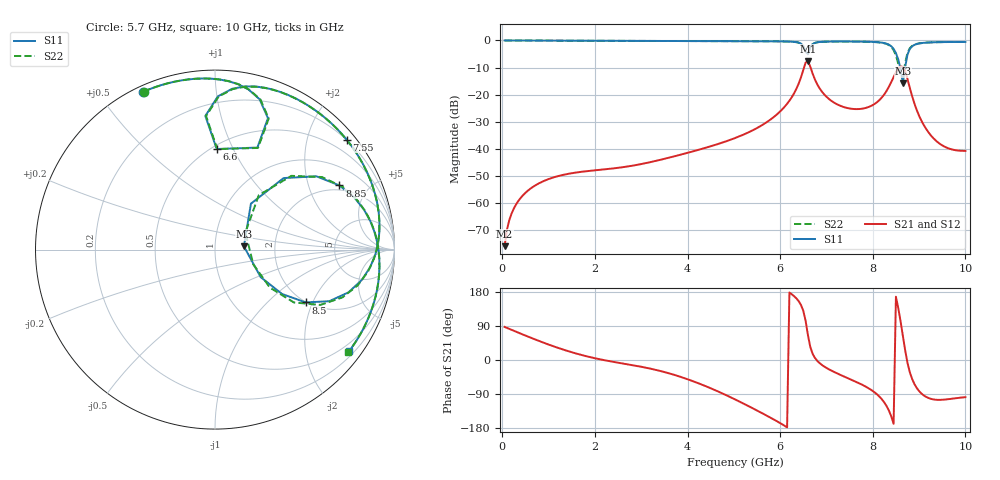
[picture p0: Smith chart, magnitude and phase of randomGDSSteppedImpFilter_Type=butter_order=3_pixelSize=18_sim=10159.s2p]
! freq	dB(S11)	phase(S11)	dB(S12)	phase(S12)
!  dB(S21)	phase(S21)	dB(S22)	phase(S22)
!S-par simulation data
#  GHz  S  DB  R 50
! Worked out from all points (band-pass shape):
!   200 points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, 50 MHz to 10 GHz, reference 50 ohm
!   highest |S21| = -7.56 dB at 6.6 GHz (marker M1); lowest = -75.9 dB at 50 MHz (marker M2)
!   |S21| within 3 dB of the highest: 6.505 GHz to 6.669 GHz (163.5 MHz wide, 2.48 % of centre); 8.541 GHz to 8.674 GHz (133.4 MHz wide, 1.55 % of centre)
!   lowest |S11| = -15.8 dB at 8.65 GHz (marker M3), VSWR 1.39, Z = 69.1 + j2.57 ohm
!   |S11| at or under -10 dB: 8.592 GHz to 8.698 GHz (105.7 MHz wide, 1.22 % of centre)
!   |S22| runs from -14.2 to 0.0 dB; largest |S21 - S12| = 0
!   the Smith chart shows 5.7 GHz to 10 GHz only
!   S11 on the Smith chart (normalised r, x): 5.7 GHz: 0.02, +0.64; 6.6 GHz: 0.53, +0.87; 7.55 GHz: 0.19, +2.74; 8.5 GHz: 1.99, -1.77; 8.85 GHz: 1.77, +3.22; 10 GHz: 0.31, -2.94
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0.05  -0.00 -2.6  -75.85 87.3  -75.85 87.3  -0.00 -2.6
0.2  -0.02 -10.4  -63.84 79.6  -63.84 79.6  -0.02 -10.4
0.5  -0.04 -25.7  -56.17 64.5  -56.17 64.5  -0.04 -25.7
1.75  -0.10 -86.1  -48.35 12.0  -48.35 12.0  -0.10 -86.1
3.4  -0.17 -154.7  -44.07 -28.6  -44.07 -28.6  -0.17 -154.8
4.2  -0.21 174.4  -40.50 -59.7  -40.50 -59.7  -0.21 174.3
5.05  -0.25 141.2  -35.83 -105.4  -35.83 -105.4  -0.26 141.1
5.7  -0.30 114.6  -30.25 -146.2  -30.25 -146.2  -0.30 114.3
6.2  -0.42 91.3  -22.21 178.1  -22.21 178.1  -0.42 91.0
6.5  -2.05 68.1  -10.83 129.7  -10.83 129.7  -2.06 67.7
6.6  -5.03 89.0  -7.56 65.5  -7.56 65.5  -5.04 88.7
6.7  -1.37 88.9  -12.17 16.8  -12.17 16.8  -1.38 88.6
7  -0.44 67.2  -20.76 -20.9  -20.76 -20.9  -0.44 66.8
7.55  -0.39 39.9  -25.21 -52.6  -25.21 -52.6  -0.40 39.3
8  -0.53 16.1  -23.82 -81.8  -23.82 -81.8  -0.55 15.2
8.35  -1.56 -11.7  -17.02 -134.0  -17.02 -134.0  -1.72 -14.0
8.5  -4.66 -30.2  -11.70 167.0  -11.70 167.0  -5.53 -33.8
8.65  -15.81 6.4  -9.77 63.9  -9.77 63.9  -14.21 29.6
8.75  -5.16 46.2  -14.25 -7.8  -14.25 -7.8  -4.56 44.0
8.85  -2.16 27.3  -20.56 -50.1  -20.56 -50.1  -2.01 26.1
9.3  -0.68 -8.6  -35.88 -103.8  -35.88 -103.8  -0.67 -8.9
10  -0.56 -37.2  -40.73 -98.1  -40.73 -98.1  -0.56 -37.5
